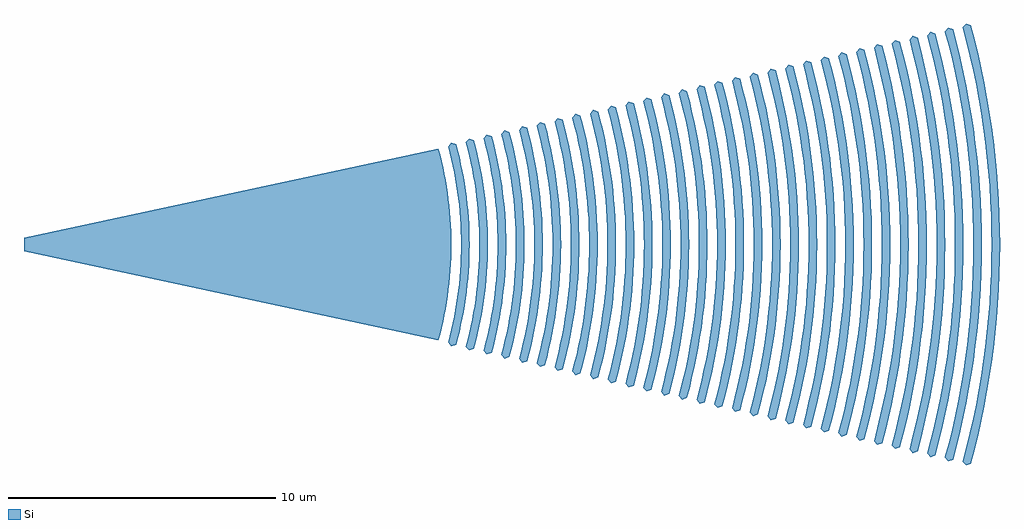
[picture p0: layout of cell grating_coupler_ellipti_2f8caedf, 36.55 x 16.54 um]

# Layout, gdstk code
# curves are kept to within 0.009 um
import gdstk
lib = gdstk.Library(unit=1e-6, precision=1e-09)
def P(c, l, *ps):  # polygons
    for p in ps: c.add(gdstk.Polygon(p, *l))
Si = (1, 0)

grating_coupler_ellipti_ = lib.new_cell('grating_coupler_ellipti_2f8caedf')
P(grating_coupler_ellipti_, Si, [(15.522,-3.591),(0,-0.25),(0,0.25),(15.522,3.591),(15.743,2.647),(15.896,1.691),(15.981,0.726),(16,0),(15.981,-0.726),(15.896,-1.691),(15.743,-2.647)],
  [(16.008,-3.811),(15.882,-3.669),(16.107,-2.704),(16.264,-1.728),(16.351,-0.742),(16.37,0),(16.351,0.742),(16.264,1.728),(16.107,2.704),(15.882,3.669),(16.008,3.811),(16.186,3.749),(16.365,3.013),(16.463,2.516),(16.543,2.017),(16.629,1.263),(16.665,0.758),(16.686,0),(16.665,-0.758),(16.629,-1.263),(16.543,-2.017),(16.463,-2.516),(16.365,-3.013),(16.186,-3.749)],
  [(16.672,-3.965),(16.547,-3.823),(16.673,-3.322),(16.78,-2.818),(16.871,-2.31),(16.944,-1.8),(17.035,-0.773),(17.054,0),(17.035,0.773),(16.944,1.8),(16.871,2.31),(16.78,2.818),(16.673,3.322),(16.547,3.823),(16.672,3.965),(16.851,3.903),(17.037,3.136),(17.138,2.62),(17.222,2.099),(17.312,1.315),(17.349,0.789),(17.37,0),(17.349,-0.789),(17.312,-1.315),(17.222,-2.099),(17.138,-2.62),(17.037,-3.136),(16.851,-3.903)],
  [(17.336,-4.119),(17.211,-3.977),(17.343,-3.455),(17.454,-2.931),(17.625,-1.872),(17.681,-1.339),(17.719,-0.804),(17.739,0),(17.719,0.804),(17.681,1.339),(17.625,1.872),(17.454,2.931),(17.343,3.455),(17.211,3.977),(17.336,4.119),(17.515,4.057),(17.709,3.26),(17.814,2.723),(17.901,2.182),(17.995,1.367),(18.045,0.548),(18.055,0),(18.045,-0.548),(17.995,-1.367),(17.901,-2.182),(17.814,-2.723),(17.709,-3.26),(17.515,-4.057)],
  [(18.002,-4.273),(17.876,-4.131),(18.012,-3.589),(18.128,-3.045),(18.226,-2.496),(18.305,-1.945),(18.386,-1.113),(18.416,-0.556),(18.424,0),(18.416,0.556),(18.386,1.113),(18.305,1.945),(18.226,2.496),(18.128,3.045),(18.012,3.589),(17.876,4.131),(18.002,4.273),(18.18,4.211),(18.381,3.383),(18.49,2.826),(18.58,2.265),(18.678,1.418),(18.73,0.568),(18.74,0),(18.73,-0.568),(18.678,-1.418),(18.58,-2.265),(18.49,-2.826),(18.381,-3.383),(18.18,-4.211)],
  [(18.665,-4.426),(18.54,-4.284),(18.682,-3.722),(18.802,-3.158),(18.904,-2.589),(18.986,-2.017),(19.046,-1.442),(19.087,-0.866),(19.109,0),(19.087,0.866),(19.046,1.442),(18.986,2.017),(18.904,2.589),(18.802,3.158),(18.682,3.722),(18.54,4.284),(18.665,4.426),(18.844,4.364),(19.053,3.507),(19.216,2.639),(19.298,2.055),(19.36,1.47),(19.414,0.589),(19.425,0),(19.414,-0.589),(19.36,-1.47),(19.298,-2.055),(19.216,-2.639),(19.053,-3.507),(18.844,-4.364)],
  [(19.331,-4.58),(19.205,-4.438),(19.352,-3.856),(19.476,-3.271),(19.581,-2.682),(19.666,-2.089),(19.729,-1.494),(19.772,-0.898),(19.794,0),(19.772,0.898),(19.729,1.494),(19.666,2.089),(19.581,2.682),(19.476,3.271),(19.352,3.856),(19.205,4.438),(19.331,4.58),(19.509,4.518),(19.725,3.63),(19.842,3.032),(19.938,2.43),(20.043,1.522),(20.086,0.914),(20.11,0),(20.086,-0.914),(20.043,-1.522),(19.938,-2.43),(19.842,-3.032),(19.725,-3.63),(19.509,-4.518)],
  [(19.996,-4.734),(19.87,-4.592),(20.021,-3.99),(20.15,-3.384),(20.259,-2.775),(20.347,-2.162),(20.412,-1.546),(20.456,-0.929),(20.479,0),(20.456,0.929),(20.412,1.546),(20.347,2.162),(20.259,2.775),(20.15,3.384),(20.021,3.99),(19.87,4.592),(19.996,4.734),(20.174,4.672),(20.396,3.754),(20.571,2.825),(20.659,2.2),(20.726,1.574),(20.77,0.945),(20.795,0),(20.77,-0.945),(20.726,-1.574),(20.659,-2.2),(20.571,-2.825),(20.396,-3.754),(20.174,-4.672)],
  [(20.659,-4.888),(20.534,-4.746),(20.76,-3.811),(20.884,-3.183),(20.985,-2.551),(21.063,-1.916),(21.12,-1.279),(21.154,-0.639),(21.164,0),(21.154,0.639),(21.12,1.279),(21.063,1.916),(20.985,2.551),(20.884,3.183),(20.76,3.811),(20.534,4.746),(20.659,4.888),(20.838,4.826),(21.068,3.877),(21.249,2.917),(21.377,1.95),(21.434,1.301),(21.468,0.651),(21.48,0),(21.468,-0.651),(21.434,-1.301),(21.377,-1.95),(21.249,-2.917),(21.068,-3.877),(20.838,-4.826)],
  [(21.324,-5.041),(21.199,-4.899),(21.36,-4.257),(21.498,-3.611),(21.614,-2.96),(21.708,-2.307),(21.804,-1.32),(21.839,-0.66),(21.849,0),(21.839,0.66),(21.804,1.32),(21.708,2.307),(21.614,2.96),(21.498,3.611),(21.36,4.257),(21.199,4.899),(21.324,5.041),(21.503,4.979),(21.74,4.001),(21.926,3.01),(22.059,2.012),(22.118,1.342),(22.153,0.672),(22.165,0),(22.153,-0.672),(22.118,-1.342),(22.059,-2.012),(21.926,-3.01),(21.74,-4.001),(21.503,-4.979)],
  [(21.988,-5.195),(21.863,-5.053),(22.03,-4.391),(22.172,-3.725),(22.292,-3.053),(22.388,-2.379),(22.46,-1.701),(22.508,-1.022),(22.534,0),(22.508,1.022),(22.46,1.701),(22.388,2.379),(22.292,3.053),(22.172,3.725),(22.03,4.391),(21.863,5.053),(21.988,5.195),(22.167,5.133),(22.412,4.124),(22.604,3.103),(22.7,2.417),(22.774,1.729),(22.822,1.038),(22.85,0),(22.822,-1.038),(22.774,-1.729),(22.7,-2.417),(22.604,-3.103),(22.412,-4.124),(22.167,-5.133)],
  [(22.654,-5.349),(22.528,-5.207),(22.7,-4.524),(22.846,-3.838),(22.969,-3.146),(23.069,-2.452),(23.171,-1.403),(23.208,-0.701),(23.219,0),(23.208,0.701),(23.171,1.403),(23.069,2.452),(22.969,3.146),(22.846,3.838),(22.7,4.524),(22.528,5.207),(22.654,5.349),(22.832,5.287),(23.084,4.248),(23.281,3.196),(23.381,2.49),(23.457,1.781),(23.522,0.713),(23.535,0),(23.522,-0.713),(23.457,-1.781),(23.381,-2.49),(23.281,-3.196),(23.084,-4.248),(22.832,-5.287)],
  [(23.317,-5.502),(23.192,-5.36),(23.369,-4.658),(23.52,-3.951),(23.647,-3.239),(23.749,-2.524),(23.825,-1.805),(23.877,-1.084),(23.904,0),(23.877,1.084),(23.825,1.805),(23.749,2.524),(23.647,3.239),(23.52,3.951),(23.369,4.658),(23.192,5.36),(23.317,5.502),(23.496,5.44),(23.756,4.371),(23.959,3.289),(24.061,2.562),(24.139,1.833),(24.191,1.1),(24.22,0),(24.191,-1.1),(24.139,-1.833),(24.061,-2.562),(23.959,-3.289),(23.756,-4.371),(23.496,-5.44)],
  [(23.982,-5.656),(23.857,-5.514),(24.039,-4.791),(24.194,-4.065),(24.325,-3.332),(24.43,-2.596),(24.508,-1.856),(24.561,-1.115),(24.589,0),(24.561,1.115),(24.508,1.856),(24.43,2.596),(24.325,3.332),(24.194,4.065),(24.039,4.791),(23.857,5.514),(23.982,5.656),(24.161,5.594),(24.428,4.495),(24.637,3.382),(24.786,2.26),(24.852,1.508),(24.891,0.754),(24.905,0),(24.891,-0.754),(24.852,-1.508),(24.786,-2.26),(24.637,-3.382),(24.428,-4.495),(24.161,-5.594)],
  [(24.646,-5.81),(24.521,-5.668),(24.792,-4.552),(24.939,-3.802),(25.06,-3.047),(25.153,-2.288),(25.221,-1.527),(25.262,-0.764),(25.274,0),(25.262,0.764),(25.221,1.527),(25.153,2.288),(25.06,3.047),(24.939,3.802),(24.792,4.552),(24.521,5.668),(24.646,5.81),(24.825,5.748),(25.1,4.618),(25.314,3.475),(25.422,2.707),(25.505,1.936),(25.576,0.776),(25.59,0),(25.576,-0.776),(25.505,-1.936),(25.422,-2.707),(25.314,-3.475),(25.1,-4.618),(24.825,-5.748)],
  [(25.311,-5.964),(25.186,-5.822),(25.378,-5.059),(25.542,-4.291),(25.68,-3.518),(25.791,-2.741),(25.905,-1.569),(25.947,-0.784),(25.959,0),(25.947,0.784),(25.905,1.569),(25.791,2.741),(25.68,3.518),(25.542,4.291),(25.378,5.059),(25.186,5.822),(25.311,5.964),(25.49,5.902),(25.772,4.742),(25.992,3.568),(26.149,2.384),(26.219,1.591),(26.261,0.796),(26.275,0),(26.261,-0.796),(26.219,-1.591),(26.149,-2.384),(25.992,-3.568),(25.772,-4.742),(25.49,-5.902)],
  [(25.977,-6.117),(25.851,-5.975),(26.048,-5.192),(26.216,-4.405),(26.357,-3.611),(26.472,-2.813),(26.556,-2.012),(26.613,-1.208),(26.644,0),(26.613,1.208),(26.556,2.012),(26.472,2.813),(26.357,3.611),(26.216,4.405),(26.048,5.192),(25.851,5.975),(25.977,6.117),(26.155,6.055),(26.443,4.865),(26.669,3.661),(26.784,2.851),(26.87,2.04),(26.945,0.817),(26.96,0),(26.945,-0.817),(26.87,-2.04),(26.784,-2.851),(26.669,-3.661),(26.443,-4.865),(26.155,-6.055)],
  [(26.641,-6.271),(26.515,-6.129),(26.717,-5.326),(26.89,-4.518),(27.035,-3.704),(27.152,-2.885),(27.239,-2.063),(27.298,-1.239),(27.329,0),(27.298,1.239),(27.239,2.063),(27.152,2.885),(27.035,3.704),(26.89,4.518),(26.717,5.326),(26.515,6.129),(26.641,6.271),(26.819,6.209),(27.115,4.989),(27.347,3.754),(27.464,2.925),(27.553,2.091),(27.612,1.255),(27.645,0),(27.612,-1.255),(27.553,-2.091),(27.464,-2.925),(27.347,-3.754),(27.115,-4.989),(26.819,-6.209)],
  [(27.306,-6.425),(27.18,-6.283),(27.387,-5.46),(27.643,-4.214),(27.776,-3.378),(27.88,-2.537),(27.982,-1.271),(28.014,0),(27.982,1.271),(27.88,2.537),(27.776,3.378),(27.643,4.214),(27.387,5.46),(27.18,6.283),(27.306,6.425),(27.484,6.363),(27.787,5.112),(28.025,3.847),(28.145,2.996),(28.236,2.143),(28.296,1.287),(28.33,0),(28.296,-1.287),(28.236,-2.143),(28.145,-2.996),(28.025,-3.847),(27.787,-5.112),(27.484,-6.363)],
  [(27.969,-6.579),(27.844,-6.437),(28.057,-5.593),(28.238,-4.745),(28.456,-3.461),(28.562,-2.599),(28.666,-1.302),(28.699,0),(28.666,1.302),(28.562,2.599),(28.456,3.461),(28.238,4.745),(28.057,5.593),(27.844,6.437),(27.969,6.579),(28.148,6.517),(28.459,5.236),(28.701,3.94),(28.876,2.633),(28.953,1.757),(28.999,0.879),(29.015,0),(28.999,-0.879),(28.953,-1.757),(28.876,-2.633),(28.701,-3.94),(28.459,-5.236),(28.148,-6.517)],
  [(28.634,-6.732),(28.509,-6.59),(28.726,-5.727),(28.994,-4.42),(29.135,-3.543),(29.244,-2.661),(29.35,-1.333),(29.382,-0.444),(29.384,0),(29.382,0.444),(29.35,1.333),(29.244,2.661),(29.135,3.543),(28.994,4.42),(28.823,5.293),(28.509,6.59),(28.634,6.732),(28.813,6.67),(29.131,5.359),(29.38,4.033),(29.506,3.141),(29.601,2.247),(29.684,0.9),(29.7,0),(29.684,-0.9),(29.601,-2.247),(29.506,-3.141),(29.38,-4.033),(29.131,-5.359),(28.813,-6.67)],
  [(29.298,-6.886),(29.173,-6.744),(29.396,-5.86),(29.67,-4.524),(29.814,-3.626),(29.925,-2.723),(30.034,-1.364),(30.069,0),(30.034,1.364),(29.925,2.723),(29.814,3.626),(29.67,4.524),(29.396,5.86),(29.173,6.744),(29.298,6.886),(29.477,6.824),(29.803,5.483),(30.058,4.125),(30.186,3.213),(30.284,2.299),(30.348,1.38),(30.385,0),(30.348,-1.38),(30.284,-2.299),(30.186,-3.213),(30.058,-4.125),(29.803,-5.483),(29.477,-6.824)],
  [(29.964,-7.04),(29.838,-6.898),(30.066,-5.994),(30.346,-4.627),(30.493,-3.709),(30.607,-2.786),(30.718,-1.395),(30.754,0),(30.718,1.395),(30.607,2.786),(30.493,3.709),(30.346,4.627),(30.066,5.994),(29.838,6.898),(29.964,7.04),(30.142,6.978),(30.475,5.606),(30.735,4.218),(30.921,2.818),(31.004,1.881),(31.053,0.942),(31.07,0),(31.053,-0.942),(31.004,-1.881),(30.921,-2.818),(30.735,-4.218),(30.475,-5.606),(30.142,-6.978)],
  [(30.627,-7.194),(30.502,-7.052),(30.839,-5.664),(31.022,-4.73),(31.172,-3.791),(31.289,-2.847),(31.403,-1.426),(31.424,-0.951),(31.439,0),(31.424,0.951),(31.403,1.426),(31.289,2.847),(31.172,3.791),(31.022,4.73),(30.839,5.664),(30.502,7.052),(30.627,7.194),(30.806,7.132),(31.147,5.73),(31.413,4.311),(31.547,3.358),(31.649,2.402),(31.717,1.442),(31.755,0),(31.717,-1.442),(31.649,-2.402),(31.547,-3.358),(31.413,-4.311),(31.147,-5.73),(30.806,-7.132)],
  [(31.292,-7.347),(31.167,-7.205),(31.405,-6.261),(31.698,-4.833),(31.851,-3.874),(31.971,-2.909),(32.087,-1.457),(32.121,-0.486),(32.124,0),(32.121,0.486),(32.087,1.457),(31.971,2.909),(31.851,3.874),(31.698,4.833),(31.405,6.261),(31.167,7.205),(31.292,7.347),(31.471,7.285),(31.596,6.811),(31.819,5.853),(32.09,4.404),(32.285,2.943),(32.371,1.964),(32.422,0.982),(32.44,0),(32.422,-0.982),(32.371,-1.964),(32.285,-2.943),(32.09,-4.404),(31.819,-5.853),(31.596,-6.811),(31.471,-7.285)],
  [(31.957,-7.501),(31.832,-7.359),(32.074,-6.395),(32.282,-5.425),(32.456,-4.447),(32.596,-3.465),(32.701,-2.478),(32.771,-1.488),(32.806,-0.496),(32.809,0),(32.806,0.496),(32.771,1.488),(32.701,2.478),(32.596,3.465),(32.456,4.447),(32.282,5.425),(32.074,6.395),(31.832,7.359),(31.957,7.501),(32.136,7.439),(32.263,6.954),(32.49,5.977),(32.592,5.485),(32.768,4.497),(32.908,3.503),(33.015,2.506),(33.107,1.004),(33.125,0),(33.107,-1.004),(33.015,-2.506),(32.908,-3.503),(32.768,-4.497),(32.592,-5.485),(32.49,-5.977),(32.263,-6.954),(32.136,-7.439)],
  [(32.621,-7.655),(32.496,-7.513),(32.744,-6.528),(32.956,-5.538),(33.134,-4.54),(33.277,-3.537),(33.424,-2.025),(33.478,-1.012),(33.494,0),(33.478,1.012),(33.424,2.025),(33.277,3.537),(33.134,4.54),(32.956,5.538),(32.744,6.528),(32.496,7.513),(32.621,7.655),(32.8,7.593),(32.93,7.098),(33.162,6.1),(33.266,5.598),(33.446,4.59),(33.648,3.067),(33.738,2.047),(33.792,1.024),(33.81,0),(33.792,-1.024),(33.738,-2.047),(33.648,-3.067),(33.446,-4.59),(33.266,-5.598),(33.162,-6.1),(32.93,-7.098),(32.8,-7.593)],
  [(33.287,-7.809),(33.161,-7.667),(33.414,-6.662),(33.726,-5.143),(33.889,-4.122),(34.016,-3.095),(34.066,-2.581),(34.139,-1.55),(34.176,-0.517),(34.179,0),(34.176,0.517),(34.139,1.55),(34.107,2.066),(34.016,3.095),(33.889,4.122),(33.726,5.143),(33.414,6.662),(33.161,7.667),(33.287,7.809),(33.465,7.747),(33.72,6.734),(33.834,6.224),(33.94,5.712),(34.123,4.683),(34.269,3.648),(34.38,2.609),(34.421,2.088),(34.476,1.045),(34.495,0),(34.476,-1.045),(34.421,-2.088),(34.38,-2.609),(34.269,-3.648),(34.123,-4.683),(33.94,-5.712),(33.834,-6.224),(33.72,-6.734),(33.465,-7.747)],
  [(33.95,-7.962),(33.825,-7.82),(34.083,-6.796),(34.304,-5.765),(34.489,-4.726),(34.638,-3.682),(34.749,-2.633),(34.791,-2.107),(34.847,-1.054),(34.864,0),(34.847,1.054),(34.791,2.107),(34.749,2.633),(34.638,3.682),(34.489,4.726),(34.304,5.765),(34.083,6.796),(33.825,7.82),(33.95,7.962),(34.129,7.9),(34.264,7.385),(34.506,6.347),(34.614,5.825),(34.801,4.776),(34.95,3.72),(35.063,2.661),(35.105,2.129),(35.161,1.066),(35.18,0),(35.161,-1.066),(35.105,-2.129),(35.063,-2.661),(34.95,-3.72),(34.801,-4.776),(34.614,-5.825),(34.506,-6.347),(34.264,-7.385),(34.129,-7.9)],
  [(34.616,-8.116),(34.49,-7.974),(34.753,-6.929),(34.978,-5.878),(35.166,-4.819),(35.318,-3.755),(35.431,-2.685),(35.508,-1.613),(35.546,-0.537),(35.549,0),(35.546,0.537),(35.508,1.613),(35.431,2.685),(35.318,3.755),(35.166,4.819),(34.978,5.878),(34.753,6.929),(34.49,7.974),(34.616,8.116),(34.794,8.054),(34.931,7.529),(35.178,6.471),(35.288,5.938),(35.478,4.869),(35.63,3.793),(35.745,2.713),(35.822,1.629),(35.86,0.543),(35.865,0),(35.86,-0.543),(35.822,-1.629),(35.745,-2.713),(35.63,-3.793),(35.478,-4.869),(35.288,-5.938),(35.178,-6.471),(34.931,-7.529),(34.794,-8.054)],
  [(35.279,-8.27),(35.154,-8.128),(35.423,-7.063),(35.652,-5.992),(35.844,-4.912),(35.999,-3.827),(36.114,-2.736),(36.192,-1.644),(36.231,-0.548),(36.234,0),(36.231,0.548),(36.192,1.644),(36.114,2.736),(35.999,3.827),(35.844,4.912),(35.652,5.992),(35.423,7.063),(35.154,8.128),(35.279,8.27),(35.458,8.208),(35.599,7.674),(35.85,6.594),(35.962,6.052),(36.156,4.962),(36.238,4.414),(36.375,3.316),(36.472,2.212),(36.53,1.107),(36.55,0),(36.53,-1.107),(36.472,-2.212),(36.375,-3.316),(36.238,-4.414),(36.156,-4.962),(35.962,-6.052),(35.85,-6.594),(35.599,-7.674),(35.458,-8.208)])

lib.write_gds('grating_coupler_ellipti_2f8caedf.gds')
